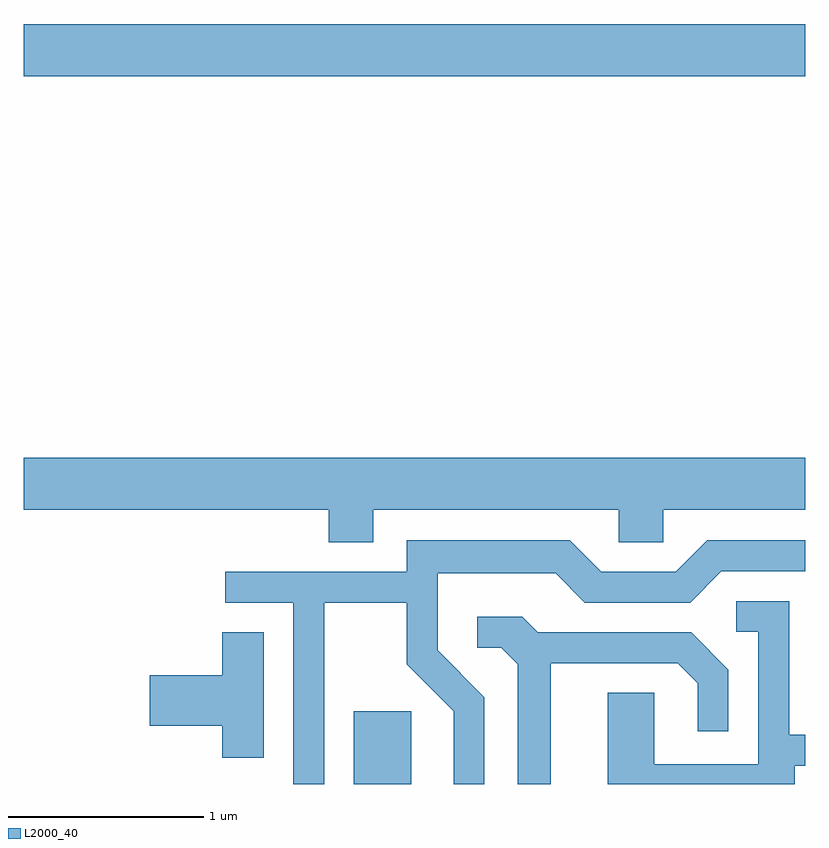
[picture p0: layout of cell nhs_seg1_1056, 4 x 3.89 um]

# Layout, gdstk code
import gdstk
lib = gdstk.Library(unit=1e-6, precision=1e-09)
def R(c, l, rs):  # rectangles x0, y0, x1, y1
    for r in rs: c.add(gdstk.rectangle(r[:2], r[2:], *l))
def P(c, l, *ps):  # polygons
    for p in ps: c.add(gdstk.Polygon(p, *l))
L2000_40 = (2000, 40)

nhs_seg1_1056 = lib.new_cell('nhs_seg1_1056')
R(nhs_seg1_1056, L2000_40, [(219.301,913.712,219.594,914.084), (217.611,917.336,221.611,917.604)])
P(nhs_seg1_1056, L2000_40, [(219.399,915.116),(220.656,915.116),(220.656,914.951),(220.884,914.951),(220.884,915.116),(221.611,915.116),(221.611,915.384),(217.611,915.384),(217.611,915.116),(219.171,915.116),(219.171,914.951),(219.399,914.951)],
  [(219.149,914.641),(219.571,914.641),(219.571,914.324),(219.811,914.084),(219.811,913.712),(219.969,913.712),(219.969,914.157),(219.729,914.397),(219.729,914.791),(220.334,914.791),(220.484,914.641),(221.022,914.641),(221.182,914.801),(221.611,914.801),(221.611,914.959),(221.109,914.959),(220.949,914.799),(220.567,914.799),(220.407,914.959),(219.571,914.959),(219.571,914.799),(218.643,914.799),(218.643,914.641),(218.991,914.641),(218.991,913.712),(219.149,913.712)],
  [(221.559,913.806),(221.611,913.806),(221.611,913.964),(221.529,913.964),(221.529,914.649),(221.258,914.649),(221.258,914.491),(221.371,914.491),(221.371,913.814),(220.839,913.814),(220.839,914.179),(220.601,914.179),(220.601,913.712),(221.559,913.712)],
  [(220.309,914.331),(220.959,914.331),(221.061,914.229),(221.061,913.983),(221.219,913.983),(221.219,914.297),(221.027,914.489),(220.242,914.489),(220.162,914.569),(219.933,914.569),(219.933,914.411),(220.054,914.411),(220.141,914.324),(220.141,913.712),(220.309,913.712)],
  [(218.839,914.489),(218.626,914.489),(218.626,914.269),(218.256,914.269),(218.256,914.011),(218.626,914.011),(218.626,913.846),(218.839,913.846)])

lib.write_gds('nhs_seg1_1056.gds')
